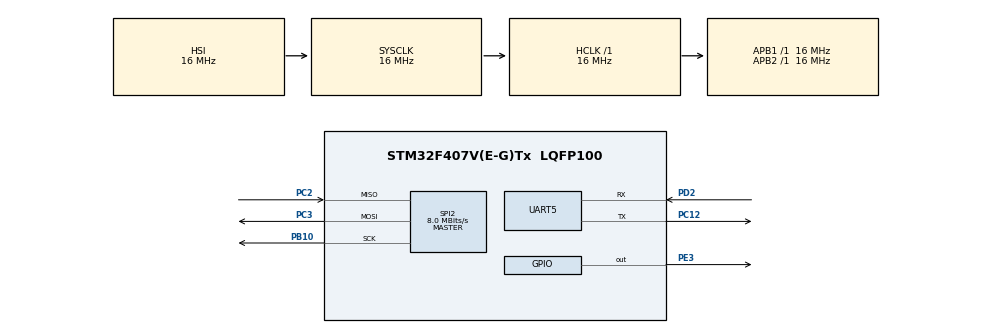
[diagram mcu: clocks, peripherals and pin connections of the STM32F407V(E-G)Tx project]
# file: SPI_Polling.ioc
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Mcu.Family=STM32F4
Mcu.Name=STM32F407V(E-G)Tx
Mcu.Package=LQFP100
NVIC.PriorityGroup=NVIC_PRIORITYGROUP_4
PA13.Mode=Serial_Wire
PA13.Signal=SYS_JTMS-SWDIO
PA14.Mode=Serial_Wire
PA14.Signal=SYS_JTCK-SWCLK
PB10.Mode=Full_Duplex_Master
PB10.Signal=SPI2_SCK
PC12.Mode=Asynchronous
PC12.Signal=UART5_TX
PC2.Mode=Full_Duplex_Master
PC2.Signal=SPI2_MISO
PC3.Mode=Full_Duplex_Master
PC3.Signal=SPI2_MOSI
PD2.Mode=Asynchronous
PD2.Signal=UART5_RX
PE3.Signal=GPIO_Output
ProjectManager.HeapSize=0x200
ProjectManager.StackSize=0x400
ProjectManager.TargetToolchain=MDK-ARM V5.32
RCC.AHBFreq_Value=16000000
RCC.APB1Freq_Value=16000000
RCC.APB2Freq_Value=16000000
RCC.CortexFreq_Value=16000000
RCC.HSE_VALUE=25000000
RCC.HSI_VALUE=16000000
RCC.LSE_VALUE=32768
RCC.SYSCLKFreq_VALUE=16000000
RCC.VCOOutputFreq_Value=192000000
SPI2.CLKPhase=SPI_PHASE_2EDGE
SPI2.CLKPolarity=SPI_POLARITY_HIGH
SPI2.CalculateBaudRate=8.0 MBits/s
SPI2.Direction=SPI_DIRECTION_2LINES
SPI2.Mode=SPI_MODE_MASTER
SPI2.VirtualType=VM_MASTER
UART5.VirtualMode=Asynchronous
board=custom

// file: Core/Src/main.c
/* USER CODE BEGIN Header */
/**
  ******************************************************************************
  * @file           : main.c
  * @brief          : Main program body
  ******************************************************************************
  * @attention
  *
  * Copyright (c) 2026 STMicroelectronics.
  * All rights reserved.
  *
  * This software is licensed under terms that can be found in the LICENSE file
  * in the root directory of this software component.
  * If no LICENSE file comes with this software, it is provided AS-IS.
  *
  ******************************************************************************
  */
/* USER CODE END Header */
#include "main.h"

/* USER CODE BEGIN Includes */
#include <stdio.h>
#include <string.h>
/* USER CODE END Includes */

/* USER CODE BEGIN PD */
#define WHO_AM_I_MPU6500    0x75    // Should return 0x70
#define PWR_MGMT_1          0x6B
#define ACCEL_XOUT_H        0x3B

#define MPU6500_CS_PORT     GPIOE
#define MPU6500_CS_PIN      GPIO_PIN_3
/* USER CODE END PD */

SPI_HandleTypeDef hspi2;

UART_HandleTypeDef huart5;

void SystemClock_Config(void);
static void MX_GPIO_Init(void);
static void MX_SPI2_Init(void);
static void MX_UART5_Init(void);

/* USER CODE BEGIN 0 */
static void UART_Print(char *str)
{
    HAL_UART_Transmit(&huart5, (uint8_t *)str, strlen(str), 100);
}

static void MPU6500_CS_LOW(void)
{
    HAL_GPIO_WritePin(MPU6500_CS_PORT, MPU6500_CS_PIN, GPIO_PIN_RESET);
}

static void MPU6500_CS_HIGH(void)
{
    HAL_GPIO_WritePin(MPU6500_CS_PORT, MPU6500_CS_PIN, GPIO_PIN_SET);
}

static HAL_StatusTypeDef MPU6500_ReadReg(uint8_t reg, uint8_t *data)
{
    HAL_StatusTypeDef ret;
    uint8_t tx[2];
    uint8_t rx[2];

    tx[0] = reg | 0x80;   // SPI read: bit7 = 1
    tx[1] = 0x00;         // dummy byte

    MPU6500_CS_LOW();
    ret = HAL_SPI_TransmitReceive(&hspi2, tx, rx, 2, 100);
    MPU6500_CS_HIGH();

    *data = rx[1];

    return ret;
}

static HAL_StatusTypeDef MPU6500_WriteReg(uint8_t reg, uint8_t data)
{
    HAL_StatusTypeDef ret;
    uint8_t tx[2];

    tx[0] = reg & 0x7F;   // SPI write: bit7 = 0
    tx[1] = data;

    MPU6500_CS_LOW();
    ret = HAL_SPI_Transmit(&hspi2, tx, 2, 100);
    MPU6500_CS_HIGH();

    return ret;
}

static HAL_StatusTypeDef MPU6500_ReadBytes(uint8_t reg, uint8_t *data, uint16_t len)
{
    HAL_StatusTypeDef ret;
    uint8_t addr;

    addr = reg | 0x80;    // SPI read

    MPU6500_CS_LOW();

    ret = HAL_SPI_Transmit(&hspi2, &addr, 1, 100);
    if (ret == HAL_OK)
    {
        ret = HAL_SPI_Receive(&hspi2, data, len, 100);
    }

    MPU6500_CS_HIGH();

    return ret;
}
/* USER CODE END 0 */

int main(void)
{

  /* MCU Configuration--------------------------------------------------------*/

  /* Reset of all peripherals, Initializes the Flash interface and the Systick. */
  HAL_Init();

  /* Configure the system clock */
  SystemClock_Config();

  /* Initialize all configured peripherals */
  MX_GPIO_Init();
  MX_SPI2_Init();
  MX_UART5_Init();
  /* USER CODE BEGIN 2 */
	uint8_t readData = 0;
	uint8_t writeData = 0;
	uint8_t accelData[6];

	int16_t accelX = 0;
	int16_t accelY = 0;
	int16_t accelZ = 0;

	char msg[128];
	HAL_StatusTypeDef ret;

	/* CS , MPU6500  */
	MPU6500_CS_HIGH();

	HAL_Delay(100);

	/* 1. Read WHO_AM_I */
	ret = MPU6500_ReadReg(WHO_AM_I_MPU6500, &readData);

	if (ret == HAL_OK)
	{
			snprintf(msg, sizeof(msg), "WHO_AM_I = 0x%02X\r\n", readData);
			UART_Print(msg);

			if (readData == 0x70)
			{
					UART_Print("MPU6500 detected.\r\n");
			}
			else
			{
					UART_Print("WHO_AM_I value is not 0x70.\r\n");
			}
	}
	else
	{
			UART_Print("Read WHO_AM_I failed.\r\n");
	}

	/* 2. Wake up MPU6500: PWR_MGMT_1 = 0x00 */
	writeData = 0x00;

	ret = MPU6500_WriteReg(PWR_MGMT_1, writeData);

	if (ret == HAL_OK)
	{
			UART_Print("Write PWR_MGMT_1 success.\r\n");
	}
	else
	{
			UART_Print("Write PWR_MGMT_1 failed.\r\n");
	}

	HAL_Delay(100);

	/* 3. Read back PWR_MGMT_1 */
	ret = MPU6500_ReadReg(PWR_MGMT_1, &readData);

	if (ret == HAL_OK)
	{
			snprintf(msg, sizeof(msg), "PWR_MGMT_1 = 0x%02X\r\n\r\n", readData);
			UART_Print(msg);
	}
	else
	{
			UART_Print("Read PWR_MGMT_1 failed.\r\n\r\n");
	}

	UART_Print("Start reading ACCEL data...\r\n");
  /* USER CODE END 2 */

  /* Infinite loop */
  /* USER CODE BEGIN WHILE */
	char text[20];
  while (1)
  {
    /* USER CODE END WHILE */

    /* USER CODE BEGIN 3 */
		ret = MPU6500_ReadBytes(ACCEL_XOUT_H, accelData, 6);

		if (ret == HAL_OK)
		{
				accelX = (int16_t)((accelData[0] << 8) | accelData[1]);
				accelY = (int16_t)((accelData[2] << 8) | accelData[3]);
				accelZ = (int16_t)((accelData[4] << 8) | accelData[5]);

				float accelX_g, accelY_g, accelZ_g;

				accelX_g = accelX / 16384.0f;
				accelY_g = accelY / 16384.0f;
				accelZ_g = accelZ / 16384.0f;

				snprintf(msg, sizeof(msg),
								 "AX = %.3f g, AY = %.3f g, AZ = %.3f g\r\n",
								 accelX_g, accelY_g, accelZ_g);

				UART_Print(msg);
		}
		else
		{
				UART_Print("Read ACCEL data failed.\r\n");
		}

		HAL_Delay(500);
  }
  /* USER CODE END 3 */
}

void SystemClock_Config(void)
{
  RCC_OscInitTypeDef RCC_OscInitStruct = {0};
  RCC_ClkInitTypeDef RCC_ClkInitStruct = {0};

  /** Configure the main internal regulator output voltage
  */
  __HAL_RCC_PWR_CLK_ENABLE();
  __HAL_PWR_VOLTAGESCALING_CONFIG(PWR_REGULATOR_VOLTAGE_SCALE1);

  /** Initializes the RCC Oscillators according to the specified parameters
  * in the RCC_OscInitTypeDef structure.
  */
  RCC_OscInitStruct.OscillatorType = RCC_OSCILLATORTYPE_HSI;
  RCC_OscInitStruct.HSIState = RCC_HSI_ON;
  RCC_OscInitStruct.HSICalibrationValue = RCC_HSICALIBRATION_DEFAULT;
  RCC_OscInitStruct.PLL.PLLState = RCC_PLL_NONE;
  if (HAL_RCC_OscConfig(&RCC_OscInitStruct) != HAL_OK)
  {
    Error_Handler();
  }

  /** Initializes the CPU, AHB and APB buses clocks
  */
  RCC_ClkInitStruct.ClockType = RCC_CLOCKTYPE_HCLK|RCC_CLOCKTYPE_SYSCLK
                              |RCC_CLOCKTYPE_PCLK1|RCC_CLOCKTYPE_PCLK2;
  RCC_ClkInitStruct.SYSCLKSource = RCC_SYSCLKSOURCE_HSI;
  RCC_ClkInitStruct.AHBCLKDivider = RCC_SYSCLK_DIV1;
  RCC_ClkInitStruct.APB1CLKDivider = RCC_HCLK_DIV1;
  RCC_ClkInitStruct.APB2CLKDivider = RCC_HCLK_DIV1;

  if (HAL_RCC_ClockConfig(&RCC_ClkInitStruct, FLASH_LATENCY_0) != HAL_OK)
  {
    Error_Handler();
  }
}

static void MX_SPI2_Init(void)
{

  /* SPI2 parameter configuration*/
  hspi2.Instance = SPI2;
  hspi2.Init.Mode = SPI_MODE_MASTER;
  hspi2.Init.Direction = SPI_DIRECTION_2LINES;
  hspi2.Init.DataSize = SPI_DATASIZE_8BIT;
  hspi2.Init.CLKPolarity = SPI_POLARITY_HIGH;
  hspi2.Init.CLKPhase = SPI_PHASE_2EDGE;
  hspi2.Init.NSS = SPI_NSS_SOFT;
  hspi2.Init.BaudRatePrescaler = SPI_BAUDRATEPRESCALER_2;
  hspi2.Init.FirstBit = SPI_FIRSTBIT_MSB;
  hspi2.Init.TIMode = SPI_TIMODE_DISABLE;
  hspi2.Init.CRCCalculation = SPI_CRCCALCULATION_DISABLE;
  hspi2.Init.CRCPolynomial = 10;
  if (HAL_SPI_Init(&hspi2) != HAL_OK)
  {
    Error_Handler();
  }

}

static void MX_UART5_Init(void)
{

  huart5.Instance = UART5;
  huart5.Init.BaudRate = 115200;
  huart5.Init.WordLength = UART_WORDLENGTH_8B;
  huart5.Init.StopBits = UART_STOPBITS_1;
  huart5.Init.Parity = UART_PARITY_NONE;
  huart5.Init.Mode = UART_MODE_TX_RX;
  huart5.Init.HwFlowCtl = UART_HWCONTROL_NONE;
  huart5.Init.OverSampling = UART_OVERSAMPLING_16;
  if (HAL_UART_Init(&huart5) != HAL_OK)
  {
    Error_Handler();
  }

}

static void MX_GPIO_Init(void)
{
  GPIO_InitTypeDef GPIO_InitStruct = {0};

  /* GPIO Ports Clock Enable */
  __HAL_RCC_GPIOE_CLK_ENABLE();
  __HAL_RCC_GPIOC_CLK_ENABLE();
  __HAL_RCC_GPIOB_CLK_ENABLE();
  __HAL_RCC_GPIOA_CLK_ENABLE();
  __HAL_RCC_GPIOD_CLK_ENABLE();

  /*Configure GPIO pin Output Level */
  HAL_GPIO_WritePin(GPIOE, GPIO_PIN_3, GPIO_PIN_RESET);

  /*Configure GPIO pin : PE3 */
  GPIO_InitStruct.Pin = GPIO_PIN_3;
  GPIO_InitStruct.Mode = GPIO_MODE_OUTPUT_PP;
  GPIO_InitStruct.Pull = GPIO_NOPULL;
  GPIO_InitStruct.Speed = GPIO_SPEED_FREQ_LOW;
  HAL_GPIO_Init(GPIOE, &GPIO_InitStruct);

}

void Error_Handler(void)
{
  __disable_irq();
  while (1)
  {
  }
}
